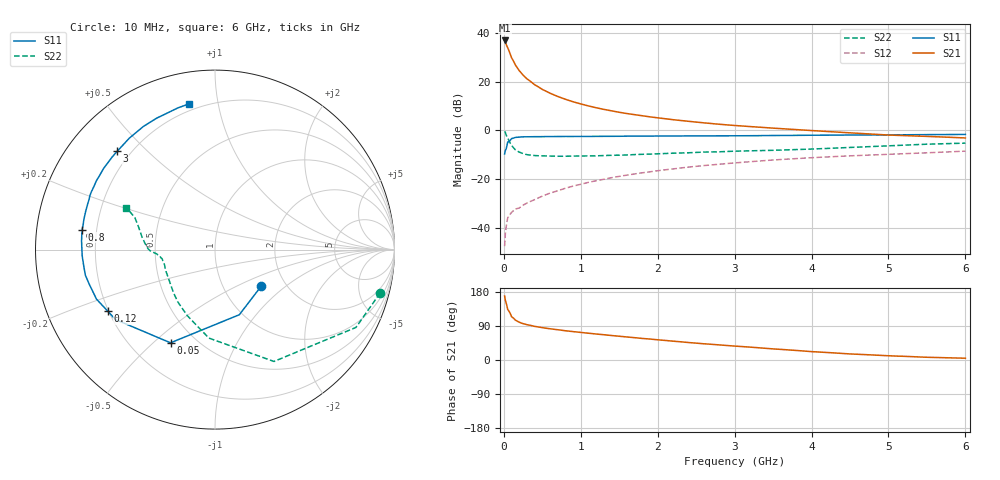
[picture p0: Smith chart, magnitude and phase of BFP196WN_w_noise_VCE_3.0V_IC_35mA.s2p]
! Infineon Technologies  Discrete & RF Semiconductors
! BFP196WN
! VCE =  3.0 V,  IC =  35 mA
! Common Emitter S-Parameters:  Jan 2017
# GHz  S  MA  R  50
!  f  S11  S21  S12  S22
! GHz  MAG  ANG  MAG  ANG  MAG  ANG  MAG  ANG
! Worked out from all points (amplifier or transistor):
!   77 points, 10 MHz to 6 GHz, reference 50 ohm
!   highest |S21| = 36.9 dB at 10 MHz (marker M1)
!   |S21| within 3 dB of that: start of sweep to 50.4 MHz
!   unconditionally stable (mu >= 1): 697.7 MHz to 2.742 GHz
!   at 130 MHz: K = 0.47, MSG = 30.5 dB, |S12| = -32.8 dB
!   at 2.2 GHz: K = 1.02, MAG = 9.2 dB, |S12| = -15.8 dB
!   at 6 GHz: K = 0.92, MSG = 2.7 dB, |S12| = -8.5 dB
!   lowest NFmin = 1.11 dB at 450 MHz
!   S11 on the Smith chart (normalised r, x): 10 MHz: 1.51, -0.69; 50 MHz: 0.37, -0.57; 120 MHz: 0.20, -0.26; 800 MHz: 0.14, +0.07; 3 GHz: 0.15, +0.41; 6 GHz: 0.16, +0.82
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0.01  0.3283 -38.2  69.78 169.0  0.0042 81.8  0.9514 -14.7
0.02  0.3873 -69.5  64.38 157.4  0.0077 75.6  0.8972 -28.9
0.05  0.5754 -115.5  49.57 133.3  0.016 53.2  0.7046 -62.2
0.1  0.6771 -144.8  30.91 114.2  0.0207 47.3  0.494 -94.0
0.12  0.6885 -150.0  27.26 111.3  0.0221 46.0  0.4502 -100.6
0.15  0.7155 -157.3  21.96 105.2  0.0243 44.3  0.3985 -112.9
0.2  0.726 -164.3  16.79 99.7  0.0255 47.0  0.3574 -125.5
0.25  0.7361 -168.8  13.59 95.9  0.0291 49.0  0.3334 -133.9
0.3  0.7368 -172.4  11.41 93.2  0.0322 52.0  0.3169 -140.7
0.4  0.7407 -177.3  8.629 88.7  0.0378 57.1  0.3036 -149.2
0.5  0.7421 179.1  6.919 85.3  0.0447 59.5  0.2992 -155.2
0.6  0.7449 176.3  5.782 82.4  0.0515 61.7  0.2965 -159.5
0.7  0.7465 173.8  4.954 79.9  0.0574 63.7  0.2939 -162.4
0.8  0.7482 171.4  4.338 77.2  0.0648 64.8  0.2938 -164.4
1.1  0.7502 165.2  3.165 70.7  0.0857 65.4  0.2984 -169.4
1.5  0.7551 158.3  2.346 62.7  0.1136 64.8  0.3091 -173.3
2.1  0.7639 148.5  1.728 51.6  0.155 61.8  0.3346 -176.6
3  0.7726 134.9  1.257 36.7  0.2143 55.2  0.3735 179.2
3.1  0.7737 133.4  1.226 35.4  0.2206 54.3  0.3765 178.4
4.1  0.7944 118.9  0.968 21.0  0.2791 46.0  0.4189 168.7
5.1  0.808 108.1  0.79 10.4  0.3265 38.5  0.4882 157.8
6  0.8243 100.2  0.698 4.7  0.3739 32.5  0.5457 155.0
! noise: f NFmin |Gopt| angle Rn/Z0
0.45  1.11  0.47  179  0.05
0.9  1.24  0.53  186  0.05
1.9  2.17  0.68  212  0.13
2.4  2.91  0.69  219  0.25
